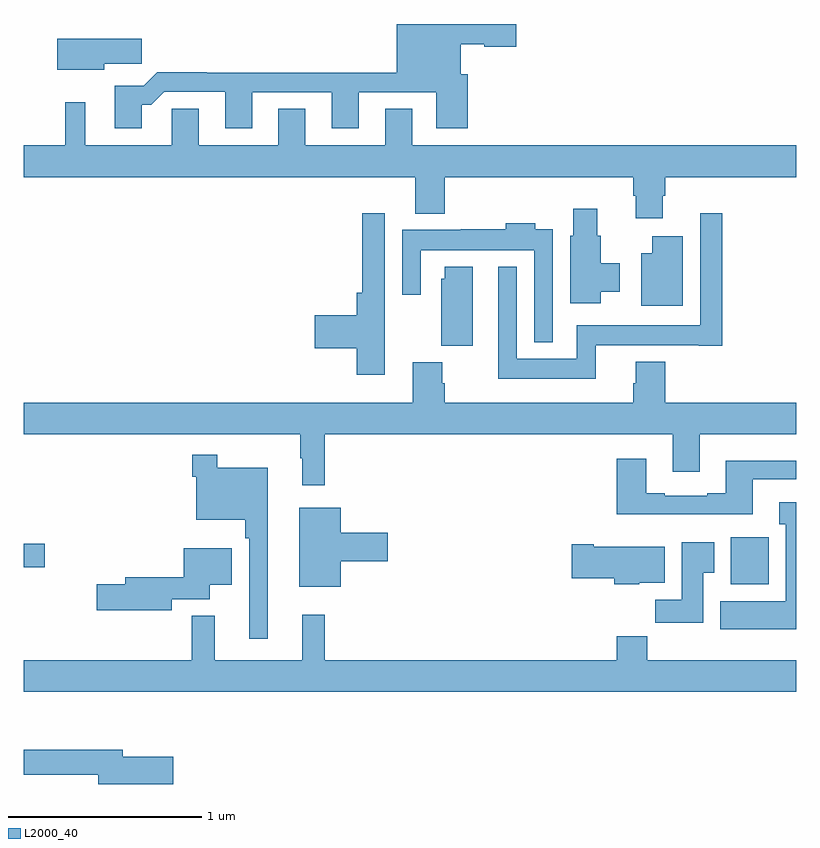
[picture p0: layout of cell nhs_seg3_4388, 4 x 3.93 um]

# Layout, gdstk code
import gdstk
lib = gdstk.Library(unit=1e-6, precision=1e-09)
def R(c, l, rs):  # rectangles x0, y0, x1, y1
    for r in rs: c.add(gdstk.rectangle(r[:2], r[2:], *l))
def P(c, l, *ps):  # polygons
    for p in ps: c.add(gdstk.Polygon(p, *l))
L2000_40 = (2000, 40)

nhs_seg3_4388 = lib.new_cell('nhs_seg3_4388')
R(nhs_seg3_4388, L2000_40, [(348.659,673.502,348.856,673.744), (345,673.589,345.109,673.711)])
P(nhs_seg3_4388, L2000_40, [(345.613,675.983),(345.662,675.983),(345.729,676.05),(346.043,676.05),(346.043,675.861),(346.183,675.861),(346.183,676.047),(346.595,676.047),(346.595,675.861),(346.735,675.861),(346.735,676.047),(347.135,676.047),(347.135,675.861),(347.3,675.861),(347.3,676.14),(347.263,676.14),(347.263,676.295),(347.383,676.295),(347.383,676.283),(347.551,676.283),(347.551,676.4),(346.931,676.4),(346.931,676.148),(345.947,676.148),(345.947,676.151),(345.692,676.151),(345.622,676.081),(345.473,676.081),(345.473,675.861),(345.613,675.861)],
  [(345.418,676.195),(345.613,676.195),(345.613,676.324),(345.174,676.324),(345.174,676.163),(345.418,676.163)],
  [(348.307,675.51),(348.32,675.51),(348.32,675.608),(349,675.608),(349,675.772),(347.011,675.772),(347.011,675.962),(346.871,675.962),(346.871,675.772),(346.459,675.772),(346.459,675.962),(346.319,675.962),(346.319,675.772),(345.907,675.772),(345.907,675.962),(345.768,675.962),(345.768,675.772),(345.319,675.772),(345.319,675.994),(345.215,675.994),(345.215,675.772),(345,675.772),(345,675.608),(347.027,675.608),(347.027,675.419),(347.18,675.419),(347.18,675.608),(348.155,675.608),(348.155,675.51),(348.167,675.51),(348.167,675.396),(348.307,675.396)],
  [(347.986,675.014),(348.085,675.014),(348.085,675.162),(347.986,675.162),(347.986,675.303),(347.968,675.303),(347.968,675.445),(347.846,675.445),(347.846,675.303),(347.828,675.303),(347.828,674.955),(347.986,674.955)],
  [(347.96,674.738),(348.494,674.738),(348.494,674.736),(348.617,674.736),(348.617,675.421),(348.501,675.421),(348.501,674.842),(347.862,674.842),(347.862,674.668),(347.553,674.668),(347.553,675.145),(347.456,675.145),(347.456,674.564),(347.96,674.564)],
  [(346.87,674.877),(346.869,674.877),(346.869,675.421),(346.753,675.421),(346.753,675.01),(346.724,675.01),(346.724,674.894),(346.506,674.894),(346.506,674.723),(346.724,674.723),(346.724,674.586),(346.87,674.586)],
  [(347.739,675.337),(347.647,675.337),(347.647,675.37),(347.495,675.37),(347.495,675.337),(347.263,675.337),(347.263,675.334),(346.959,675.334),(346.959,675),(347.055,675),(347.055,675.23),(347.643,675.23),(347.643,674.753),(347.739,674.753)],
  [(348.412,675.301),(348.254,675.301),(348.254,675.214),(348.197,675.214),(348.197,674.942),(348.412,674.942)],
  [(347.326,675.145),(347.18,675.145),(347.18,675.081),(347.162,675.081),(347.162,674.734),(347.326,674.734)],
  [(346.559,674.276),(348.359,674.276),(348.359,674.082),(348.499,674.082),(348.499,674.276),(349,674.276),(349,674.44),(348.32,674.44),(348.32,674.653),(348.167,674.653),(348.167,674.541),(348.155,674.541),(348.155,674.44),(347.18,674.44),(347.18,674.54),(347.167,674.54),(347.167,674.649),(347.015,674.649),(347.015,674.44),(345,674.44),(345,674.276),(346.431,674.276),(346.431,674.153),(346.442,674.153),(346.442,674.013),(346.559,674.013)],
  [(346.264,674.104),(346.003,674.104),(346.003,674.17),(345.874,674.17),(345.874,674.057),(345.894,674.057),(345.894,673.835),(346.147,673.835),(346.147,673.739),(346.167,673.739),(346.167,673.218),(346.264,673.218)],
  [(348.775,674.043),(349,674.043),(349,674.14),(348.635,674.14),(348.635,673.972),(348.539,673.972),(348.539,673.959),(348.319,673.959),(348.319,673.972),(348.223,673.972),(348.223,674.149),(348.071,674.149),(348.071,673.862),(348.775,673.862)],
  [(349,673.924),(348.911,673.924),(348.911,673.811),(348.944,673.811),(348.944,673.414),(348.605,673.414),(348.605,673.268),(349,673.268)],
  [(346.642,673.619),(346.885,673.619),(346.885,673.766),(346.642,673.766),(346.642,673.897),(346.427,673.897),(346.427,673.487),(346.642,673.487)],
  [(348.517,673.561),(348.574,673.561),(348.574,673.717),(348.407,673.717),(348.407,673.42),(348.268,673.42),(348.268,673.302),(348.517,673.302)],
  [(348.186,673.508),(348.319,673.508),(348.319,673.696),(347.95,673.696),(347.95,673.709),(347.838,673.709),(347.838,673.531),(348.056,673.531),(348.056,673.502),(348.186,673.502)],
  [(345.766,673.422),(345.964,673.422),(345.964,673.499),(346.078,673.499),(346.078,673.687),(345.83,673.687),(345.83,673.538),(345.527,673.538),(345.527,673.502),(345.378,673.502),(345.378,673.367),(345.766,673.367)],
  [(349,673.108),(348.227,673.108),(348.227,673.232),(348.071,673.232),(348.071,673.108),(346.559,673.108),(346.559,673.342),(346.442,673.342),(346.442,673.108),(345.989,673.108),(345.989,673.337),(345.871,673.337),(345.871,673.108),(345,673.108),(345,672.944),(349,672.944)],
  [(345.775,672.609),(345.514,672.609),(345.514,672.643),(345,672.643),(345,672.514),(345.386,672.514),(345.386,672.467),(345.775,672.467)])

lib.write_gds('nhs_seg3_4388.gds')
